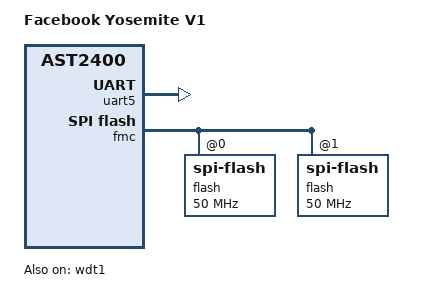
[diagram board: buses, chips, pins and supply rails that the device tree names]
/dts-v1/;

#include "ast2400-u-boot.dtsi"

/ {
	model = "Facebook Yosemite V1";
    compatible = "fbobmc,yosemite1", "aspeed,ast2400";

	chosen {
		stdout-path = &uart5;
	};

	aliases {
		spi0 = &fmc;
	};
};

&wdt1 {
	u-boot,dm-pre-reloc;
	status = "okay";
};

&uart5 {
	u-boot,dm-pre-reloc;
	status = "okay";
};

&fmc {
	status = "okay";
	flash@0 {
		compatible = "spi-flash";
		status = "okay";
		spi-max-frequency = <50000000>;
		spi-tx-bus-width = <1>;
		spi-rx-bus-width = <1>;
	};
	flash@1 {
		compatible = "spi-flash";
		status = "okay";
		spi-max-frequency = <50000000>;
		spi-tx-bus-width = <1>;
		spi-rx-bus-width = <1>;
	};
};

